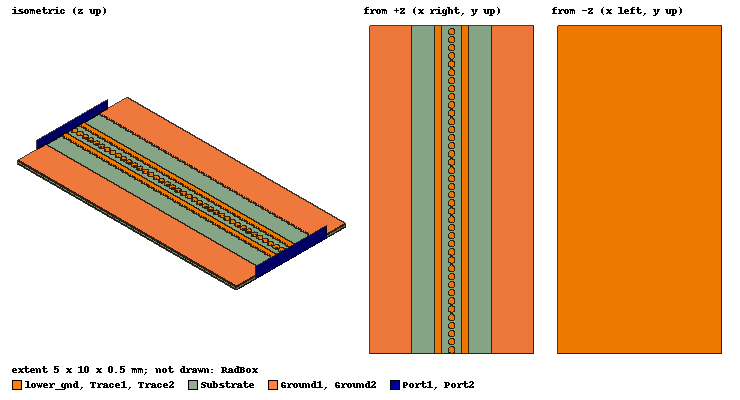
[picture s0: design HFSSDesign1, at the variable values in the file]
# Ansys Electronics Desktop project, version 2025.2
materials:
  vacuum: permittivity=1
  Isola I-Speed IS (R): permittivity=3.3 dielectric_loss_tangent=0.0064
  Krempel Akaflex PCL (tm): permittivity=3.3 dielectric_loss_tangent=0.0052
  Material1: permittivity=3.3 dielectric_loss_tangent=0.003
  copper: permeability=0.999991 conductivity=58000000
  air: permittivity=1.0006 permeability=1.0000004

design HFSSDesign1 (HFSS, HFSS Terminal Network, model units mm)
options: Calculate_Lossy_Dielectrics
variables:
  W_trace = 0.218mm
  d_separation = 0.6mm
  Z_subs = 0.1mm
  X_rad = 25mm
  Y_rad = 10mm
  Z_rad = 10mm
  X_sub = 5mm
  Y_sub = 10mm
  Gap = 0.7mm
  iso_length = 0.08mm
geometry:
  Substrate [Material1] = box(corner=(0mm, 0mm, 0.02mm), size=(X_sub, Y_sub, Z_subs))
  Trace1 [copper] = box(corner=(0.5*X_sub-(d_separation/2+ W_trace), 0mm, 0.12mm), size=(W_trace, Y_sub, 0.02mm))
  RadBox [air] = box(corner=(0.5*X_sub-(0.5*X_rad), 0mm, 0mm), size=(X_rad, Y_rad, Z_rad))
  Port1 = rectangle(corner=(0.5*X_sub-0.5*(2*W_trace+d_separation+1.5mm+Gap), 0mm, 0mm), z_size=0.5mm, x_size=2*W_trace+d_separation+1.5mm+Gap)
  Port2 = rectangle(corner=(0.5*X_sub-0.5*(2*W_trace+d_separation+1.5mm+Gap), 10mm, 0mm), z_size=0.5mm, x_size=2*W_trace+d_separation+1.5mm+Gap)
  Trace2 [copper] = box(corner=(0.5*X_sub+d_separation/2, 0mm, 0.12mm), size=(W_trace, Y_sub, 0.02mm))
  Ground1 [copper] = box(corner=(0mm, 0mm, 0.12mm), size=(2.5mm-d_separation/2-W_trace-Gap, Y_rad, 0.02mm))
  Ground2 [copper] = box(corner=(2.5mm+d_separation/2+W_trace+Gap, 0mm, 0.12mm), size=(2.5mm-d_separation/2-W_trace-Gap, Y_rad, 0.02mm))
  Cylinder1 = cylinder(axis=Z, base_centre=(2.5mm, 0.11mm, 0.02mm), radius=0.1mm, height=0.12mm)
  Cylinder1.duplicate_along_line(step=(0mm, 0.249mm, 0mm), total=40, attached)
  Cylinder1_1 = Cylinder1.copy()
  Substrate.subtract(Cylinder1_1)
  lower_gnd [copper] = box(corner=(0mm, 0mm, 0mm), size=(X_sub, Y_sub, 0.02mm))
  Cylinder2 = cylinder(axis=Z, base_centre=(2.5mm, 0.11mm, 0.02mm), radius=0.1mm, height=0.12mm)
  Cylinder2.duplicate_along_line(step=(0mm, 0.249mm, 0mm), total=40, attached)
  Cylinder1_2 = Cylinder2.copy()
  lower_gnd.subtract(Cylinder1_2)
  Cylinder2.delete()
  lower_gnd.unite(Cylinder1)
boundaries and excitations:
  Rad1: Radiation Objects=RadBox
  Trace1_T1: Terminal port=1 Faces=Trace1.face(-y) TerminalResistance=50ohm
  Trace2_T1: Terminal port=1 Faces=Trace2.face(-y) TerminalResistance=50ohm
  Trace1_T2: Terminal port=2 Faces=Trace1.face(+y) TerminalResistance=50ohm
  Trace2_T2: Terminal port=2 Faces=Trace2.face(+y) TerminalResistance=50ohm
  1: Wave Port Faces=Port1.face WavePortType=Terminal NumModes=1 SpecifiedWaveDirectionFlip
  2: Wave Port Faces=Port2.face WavePortType=Terminal NumModes=1
  reference conductors: Ground1, Ground2, lower_gnd
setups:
  Setup1: HfssDriven Frequency=50GHz MaxDeltaS=0.03 MaximumPasses=20 MinimumPasses=1 MinimumConvergedPasses=1 PercentRefinement=30 BasisOrder=1 PortAccuracy=2 DrivenSolverType="Direct Solver"
    sweep Sweep: 0.001GHz to 50GHz step 0.1GHz; Type=Interpolating InterpTolerance=0.5 InterpMaxSolns=250 InterpUsePortImped=false InterpUsePropConst=false PassivityErrorTolerance=0.0001
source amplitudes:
  1:1: 1V 0deg
  1:2, 2:1, 2:2: 0V 0deg
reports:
  Terminal S Parameter Plot1: dB(St(Trace1_T2,Trace1_T1)) vs Freq on Setup1 : Sweep; markers MX1 at x=1.0058309e+10, MX2 at x=4.9891226e+10
  Terminal S Parameter Plot2: dB(St(Trace2_T1,Trace1_T1)), dB(St(Trace2_T2,Trace1_T1)) vs Freq on Setup1 : Sweep; markers MX1 at x=1.0052122e+10, MX2 at x=4.985108e+10
